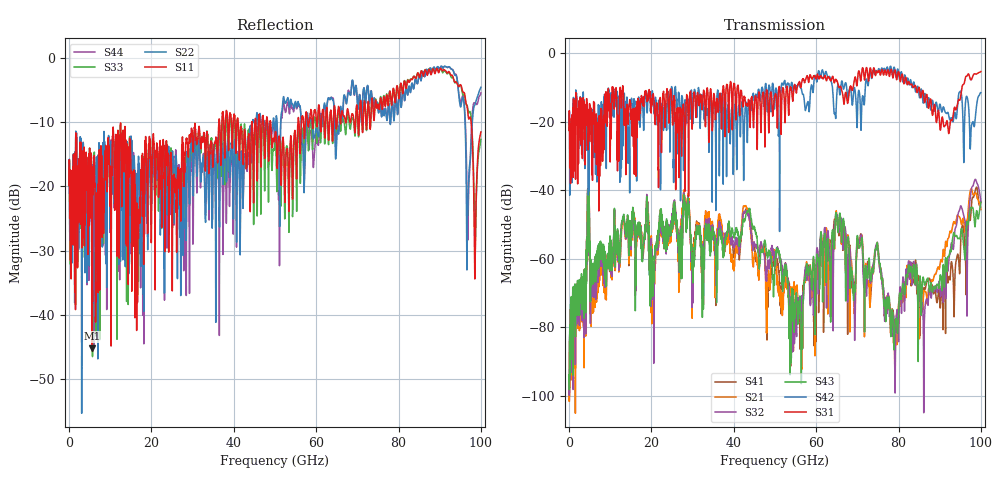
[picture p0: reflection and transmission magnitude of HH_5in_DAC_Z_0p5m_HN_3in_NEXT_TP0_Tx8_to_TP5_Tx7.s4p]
# GHz S RI R 45
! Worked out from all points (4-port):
!   4000 points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, 25 MHz to 100 GHz, reference 45 ohm
!   strongest paths, dB at 25 MHz, 25.02 GHz, 50.02 GHz, 75.03 GHz, 100 GHz:
!     S31: -22.5, -17.3, -12.2, -5.6, -5.4
!     S42: -22.5, -11.1, -12.9, -5.1, -11.5
!     S43: -95.5, -47.6, -60.5, -57.2, -43.5
!     S32: -97.0, -46.8, -59.1, -57.2, -43.4
!     S21: -98.4, -46.9, -58.3, -57.4, -45.6
!     S41: -97.0, -47.6, -59.4, -56.8, -43.4
!   lowest |S11| = -45.2 dB at 5.575 GHz (marker M1), VSWR 1.01, Z = 44.6 - j0.286 ohm
!   |S11| at or under -10 dB: start of sweep to 36.4 GHz; 41.05 GHz to 44.41 GHz (3.352 GHz wide, 7.84 % of centre); 48.97 GHz to 55.59 GHz (6.62 GHz wide, 12.7 % of centre)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
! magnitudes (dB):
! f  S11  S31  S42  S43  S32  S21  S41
! 25 MHz  -19.8  -22.5  -22.5  -95.5  -97.0  -98.4  -97.0
! 5.575 GHz  -45.2  -35.4  -17.8  -66.0  -69.2  -73.8  -69.2
! 43.25 GHz  -16.0  -15.0  -24.0  -46.3  -46.5  -45.9  -45.8
! 54.25 GHz  -21.7  -13.4  -9.4  -72.3  -76.1  -69.3  -79.9
! 64.92 GHz  -10.9  -8.0  -14.5  -47.0  -47.6  -46.2  -48.5
! 78.88 GHz  -5.0  -5.8  -4.1  -86.2  -77.5  -82.8  -78.9
! 100 GHz  -11.5  -5.4  -11.5  -43.5  -43.4  -45.6  -43.4
